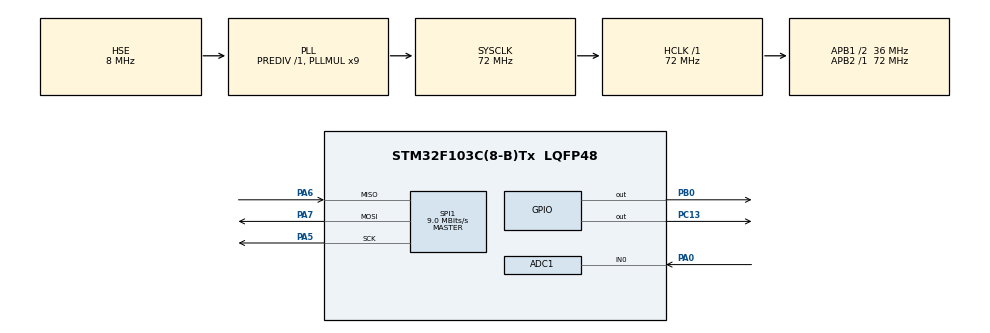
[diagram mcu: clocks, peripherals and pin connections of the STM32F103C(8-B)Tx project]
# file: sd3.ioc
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ADC1.Channel-3\#ChannelRegularConversion=ADC_CHANNEL_0
ADC1.DataAlign=ADC_DATAALIGN_LEFT
ADC1.EnableRegularConversion=ENABLE
ADC1.ExternalTrigConv=ADC_EXTERNALTRIGCONV_T3_TRGO
ADC1.NbrOfConversion=1
ADC1.NbrOfConversionFlag=1
ADC1.Rank-3\#ChannelRegularConversion=1
ADC1.SamplingTime-3\#ChannelRegularConversion=ADC_SAMPLETIME_41CYCLES_5
ADC1.master=1
Dma.ADC1.0.Direction=DMA_PERIPH_TO_MEMORY
Dma.ADC1.0.Instance=DMA1_Channel1
Dma.ADC1.0.MemDataAlignment=DMA_MDATAALIGN_BYTE
Dma.ADC1.0.MemInc=DMA_MINC_ENABLE
Dma.ADC1.0.Mode=DMA_CIRCULAR
Dma.ADC1.0.PeriphDataAlignment=DMA_PDATAALIGN_BYTE
Dma.ADC1.0.PeriphInc=DMA_PINC_DISABLE
Dma.ADC1.0.Priority=DMA_PRIORITY_LOW
Dma.Request0=ADC1
FATFS._MAX_SS=1024
FATFS._USE_LFN=1
Mcu.Family=STM32F1
Mcu.Name=STM32F103C(8-B)Tx
Mcu.Package=LQFP48
NVIC.ADC1_2_IRQn=true\:0\:0\:false\:false\:true\:true\:true
NVIC.DMA1_Channel1_IRQn=true\:0\:0\:false\:false\:true\:false\:true
NVIC.PriorityGroup=NVIC_PRIORITYGROUP_4
NVIC.TIM3_IRQn=true\:0\:0\:false\:false\:true\:true\:true
NVIC.TIM4_IRQn=true\:0\:0\:false\:false\:true\:true\:true
PA0-WKUP.Signal=ADCx_IN0
PA13.Mode=Serial_Wire
PA13.Signal=SYS_JTMS-SWDIO
PA14.Mode=Serial_Wire
PA14.Signal=SYS_JTCK-SWCLK
PA5.Mode=Full_Duplex_Master
PA5.Signal=SPI1_SCK
PA6.Mode=Full_Duplex_Master
PA6.Signal=SPI1_MISO
PA7.Mode=Full_Duplex_Master
PA7.Signal=SPI1_MOSI
PB0.Signal=GPIO_Output
PC13-TAMPER-RTC.Signal=GPIO_Output
PD0-OSC_IN.Mode=HSE-External-Oscillator
PD0-OSC_IN.Signal=RCC_OSC_IN
PD1-OSC_OUT.Mode=HSE-External-Oscillator
PD1-OSC_OUT.Signal=RCC_OSC_OUT
ProjectManager.HeapSize=0x200
ProjectManager.StackSize=0x400
ProjectManager.TargetToolchain=STM32CubeIDE
RCC.ADCPresc=RCC_ADCPCLK2_DIV6
RCC.AHBFreq_Value=72000000
RCC.APB1CLKDivider=RCC_HCLK_DIV2
RCC.APB1Freq_Value=36000000
RCC.APB1TimFreq_Value=72000000
RCC.APB2Freq_Value=72000000
RCC.APB2TimFreq_Value=72000000
RCC.HCLKFreq_Value=72000000
RCC.PLLMUL=RCC_PLL_MUL9
RCC.PLLSourceVirtual=RCC_PLLSOURCE_HSE
RCC.SYSCLKFreq_VALUE=72000000
RCC.SYSCLKSource=RCC_SYSCLKSOURCE_PLLCLK
RCC.USBFreq_Value=72000000
SH.ADCx_IN0.0=ADC1_IN0,IN0
SPI1.BaudRatePrescaler=SPI_BAUDRATEPRESCALER_8
SPI1.CalculateBaudRate=9.0 MBits/s
SPI1.Direction=SPI_DIRECTION_2LINES
SPI1.Mode=SPI_MODE_MASTER
SPI1.VirtualType=VM_MASTER
TIM3.Period=500-1
TIM3.Prescaler=9-1
TIM3.TIM_MasterOutputTrigger=TIM_TRGO_UPDATE
TIM4.Period=5000
TIM4.Prescaler=7200
VP_FATFS_VS_Generic.Mode=User_defined
VP_TIM3_VS_ClockSourceINT.Mode=Internal
VP_TIM4_VS_ClockSourceINT.Mode=Internal
board=custom

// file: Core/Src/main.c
/* USER CODE BEGIN Header */
/**
  ******************************************************************************
  * @file           : main.c
  * @brief          : Main program body
  ******************************************************************************
  * @attention
  *
  * <h2><center>&copy; Copyright (c) 2020 STMicroelectronics.
  * All rights reserved.</center></h2>
  *
  * This software component is licensed by ST under BSD 3-Clause license,
  * the "License"; You may not use this file except in compliance with the
  * License. You may obtain a copy of the License at:
  *                        opensource.org/licenses/BSD-3-Clause
  *
  ******************************************************************************
  */
/* USER CODE END Header */
#include "main.h"
#include "fatfs.h"

/* USER CODE BEGIN Includes */
#include "fatfs_sd.h"
#include "string.h"
#include "stdio.h"
//#include "sine.h"
/* USER CODE END Includes */

/* USER CODE BEGIN PD */
#define BUFF_SIZE 4096
#define RECORD_SIZE 16
/* USER CODE END PD */

ADC_HandleTypeDef hadc1;
DMA_HandleTypeDef hdma_adc1;

SPI_HandleTypeDef hspi1;

TIM_HandleTypeDef htim3;
TIM_HandleTypeDef htim4;

void SystemClock_Config(void);
static void MX_GPIO_Init(void);
static void MX_DMA_Init(void);
static void MX_SPI1_Init(void);
static void MX_TIM4_Init(void);
static void MX_TIM3_Init(void);
static void MX_ADC1_Init(void);
/* USER CODE BEGIN PFP */
void blink_bad(){
//	for(int i = 0; i < 5; i++){
//		HAL_GPIO_WritePin(GPIOC, GPIO_PIN_13, GPIO_PIN_RESET);
//		HAL_Delay(100);
//		HAL_GPIO_WritePin(GPIOC, GPIO_PIN_13, GPIO_PIN_SET);
//		HAL_Delay(100);
//	}
	while(1){
		HAL_GPIO_WritePin(GPIOC, GPIO_PIN_13, GPIO_PIN_RESET);
		HAL_Delay(100);
		HAL_GPIO_WritePin(GPIOC, GPIO_PIN_13, GPIO_PIN_SET);
		HAL_Delay(100);
	}
}

void blink_good(int val){
	for(int i = 0; i < val; i++){
		HAL_GPIO_WritePin(GPIOC, GPIO_PIN_13, GPIO_PIN_RESET);
		HAL_Delay(300);
		HAL_GPIO_WritePin(GPIOC, GPIO_PIN_13, GPIO_PIN_SET);
		HAL_Delay(300);
	}
}

void blink_beacon(){
		HAL_GPIO_WritePin(GPIOC, GPIO_PIN_13, GPIO_PIN_RESET);
		HAL_Delay(1000);
		HAL_GPIO_WritePin(GPIOC, GPIO_PIN_13, GPIO_PIN_SET);
		HAL_Delay(1000);
}

/* USER CODE END PFP */

/* USER CODE BEGIN 0 */
FATFS fs;  // file system
FIL fil; // File
FILINFO fno;
FRESULT fresult;  // result
uint16_t br, bw;  // File read/write count

/**** capacity related *****/
FATFS *pfs;
DWORD fre_clust;
uint32_t total, free_space;

volatile uint8_t bufIdx, recordDone, enableBlink;
//uint8_t buf[2][BUFF_SIZE];
//uint16_t buf[2][BUFF_SIZE];
uint8_t buf[BUFF_SIZE];

/* USER CODE END 0 */

int main(void)
{

  /* MCU Configuration--------------------------------------------------------*/

  /* Reset of all peripherals, Initializes the Flash interface and the Systick. */
  HAL_Init();

  /* Configure the system clock */
  SystemClock_Config();

  /* Initialize all configured peripherals */
  MX_GPIO_Init();
  MX_DMA_Init();
  MX_SPI1_Init();
  MX_FATFS_Init();
  MX_TIM4_Init();
  MX_TIM3_Init();
  MX_ADC1_Init();
  /* USER CODE BEGIN 2 */

  uint8_t wavHeader[] = {0x52, 0x49, 0x46, 0x46, 0xc4, 0x32, 0x01, 0x00,
		  0x57, 0x41, 0x56, 0x45, 0x66, 0x6d, 0x74, 0x20, //wave fmt
		  0x10, 0x00, 0x00, 0x00, //subchunk
		  0x01, 0x00,
		  0x01, 0x00, //num of channels
		  0x80, 0x3e, 0x00, 0x00,
		  0x80, 0x3e, 0x00, 0x00, // byterate
		  0x01, 0x00, //block align, bytes per sample
		  0x08, 0x00, //bits per sample
		  0x64, 0x61, 0x74, 0x61, // data
		  0xa0, 0x32, 0x01, 0x00 // size of data
  };
  bufIdx = 0;
  recordDone = 0;
  enableBlink = 0;
    fresult = f_mount(&fs, "", 0);
	fresult = f_open(&fil, "f12.wav", FA_OPEN_ALWAYS | FA_READ | FA_WRITE);
	if(fresult != FR_OK)
		blink_bad();

	f_write(&fil, wavHeader, sizeof(wavHeader), &bw);

//	blink_good(2);
	/* Writing text */
//	f_puts("This data is from the FILE1.txt. And it was written using ...f_puts... ", &fil);

	HAL_TIM_Base_Start_IT(&htim4);

	HAL_TIM_Base_Start(&htim3);

//	HAL_ADC_Start_DMA(&hadc1, (uint16_t*)buf, 2*BUFF_SIZE);
	HAL_ADC_Start_DMA(&hadc1, (uint16_t*)buf, BUFF_SIZE);
	//for 8bit left shifted ADC read, move periph pointer by one byte to get ADC highbyte
	uint32_t ADC_DR = hdma_adc1.Instance->CPAR;
	hdma_adc1.Instance->CPAR = ADC_DR+1;

  /* USER CODE END 2 */

  /* Infinite loop */
  while (1)
  {

    /* USER CODE BEGIN 3 */
	  if(enableBlink)
		  blink_beacon();
  }
  /* USER CODE END 3 */
}

void SystemClock_Config(void)
{
  RCC_OscInitTypeDef RCC_OscInitStruct = {0};
  RCC_ClkInitTypeDef RCC_ClkInitStruct = {0};
  RCC_PeriphCLKInitTypeDef PeriphClkInit = {0};

  /** Initializes the RCC Oscillators according to the specified parameters
  * in the RCC_OscInitTypeDef structure.
  */
  RCC_OscInitStruct.OscillatorType = RCC_OSCILLATORTYPE_HSE;
  RCC_OscInitStruct.HSEState = RCC_HSE_ON;
  RCC_OscInitStruct.HSEPredivValue = RCC_HSE_PREDIV_DIV1;
  RCC_OscInitStruct.HSIState = RCC_HSI_ON;
  RCC_OscInitStruct.PLL.PLLState = RCC_PLL_ON;
  RCC_OscInitStruct.PLL.PLLSource = RCC_PLLSOURCE_HSE;
  RCC_OscInitStruct.PLL.PLLMUL = RCC_PLL_MUL9;
  if (HAL_RCC_OscConfig(&RCC_OscInitStruct) != HAL_OK)
  {
    Error_Handler();
  }
  /** Initializes the CPU, AHB and APB buses clocks
  */
  RCC_ClkInitStruct.ClockType = RCC_CLOCKTYPE_HCLK|RCC_CLOCKTYPE_SYSCLK
                              |RCC_CLOCKTYPE_PCLK1|RCC_CLOCKTYPE_PCLK2;
  RCC_ClkInitStruct.SYSCLKSource = RCC_SYSCLKSOURCE_PLLCLK;
  RCC_ClkInitStruct.AHBCLKDivider = RCC_SYSCLK_DIV1;
  RCC_ClkInitStruct.APB1CLKDivider = RCC_HCLK_DIV2;
  RCC_ClkInitStruct.APB2CLKDivider = RCC_HCLK_DIV1;

  if (HAL_RCC_ClockConfig(&RCC_ClkInitStruct, FLASH_LATENCY_2) != HAL_OK)
  {
    Error_Handler();
  }
  PeriphClkInit.PeriphClockSelection = RCC_PERIPHCLK_ADC;
  PeriphClkInit.AdcClockSelection = RCC_ADCPCLK2_DIV6;
  if (HAL_RCCEx_PeriphCLKConfig(&PeriphClkInit) != HAL_OK)
  {
    Error_Handler();
  }
}

static void MX_ADC1_Init(void)
{

  ADC_ChannelConfTypeDef sConfig = {0};

  /** Common config
  */
  hadc1.Instance = ADC1;
  hadc1.Init.ScanConvMode = ADC_SCAN_DISABLE;
  hadc1.Init.ContinuousConvMode = DISABLE;
  hadc1.Init.DiscontinuousConvMode = DISABLE;
  hadc1.Init.ExternalTrigConv = ADC_EXTERNALTRIGCONV_T3_TRGO;
  hadc1.Init.DataAlign = ADC_DATAALIGN_LEFT;
  hadc1.Init.NbrOfConversion = 1;
  if (HAL_ADC_Init(&hadc1) != HAL_OK)
  {
    Error_Handler();
  }
  /** Configure Regular Channel
  */
  sConfig.Channel = ADC_CHANNEL_0;
  sConfig.Rank = ADC_REGULAR_RANK_1;
  sConfig.SamplingTime = ADC_SAMPLETIME_41CYCLES_5;
  if (HAL_ADC_ConfigChannel(&hadc1, &sConfig) != HAL_OK)
  {
    Error_Handler();
  }

}

static void MX_SPI1_Init(void)
{

  /* SPI1 parameter configuration*/
  hspi1.Instance = SPI1;
  hspi1.Init.Mode = SPI_MODE_MASTER;
  hspi1.Init.Direction = SPI_DIRECTION_2LINES;
  hspi1.Init.DataSize = SPI_DATASIZE_8BIT;
  hspi1.Init.CLKPolarity = SPI_POLARITY_LOW;
  hspi1.Init.CLKPhase = SPI_PHASE_1EDGE;
  hspi1.Init.NSS = SPI_NSS_SOFT;
  hspi1.Init.BaudRatePrescaler = SPI_BAUDRATEPRESCALER_8;
  hspi1.Init.FirstBit = SPI_FIRSTBIT_MSB;
  hspi1.Init.TIMode = SPI_TIMODE_DISABLE;
  hspi1.Init.CRCCalculation = SPI_CRCCALCULATION_DISABLE;
  hspi1.Init.CRCPolynomial = 10;
  if (HAL_SPI_Init(&hspi1) != HAL_OK)
  {
    Error_Handler();
  }

}

static void MX_TIM3_Init(void)
{

  TIM_ClockConfigTypeDef sClockSourceConfig = {0};
  TIM_MasterConfigTypeDef sMasterConfig = {0};

  htim3.Instance = TIM3;
  htim3.Init.Prescaler = 9-1;
  htim3.Init.CounterMode = TIM_COUNTERMODE_UP;
  htim3.Init.Period = 500-1;
  htim3.Init.ClockDivision = TIM_CLOCKDIVISION_DIV1;
  htim3.Init.AutoReloadPreload = TIM_AUTORELOAD_PRELOAD_DISABLE;
  if (HAL_TIM_Base_Init(&htim3) != HAL_OK)
  {
    Error_Handler();
  }
  sClockSourceConfig.ClockSource = TIM_CLOCKSOURCE_INTERNAL;
  if (HAL_TIM_ConfigClockSource(&htim3, &sClockSourceConfig) != HAL_OK)
  {
    Error_Handler();
  }
  sMasterConfig.MasterOutputTrigger = TIM_TRGO_UPDATE;
  sMasterConfig.MasterSlaveMode = TIM_MASTERSLAVEMODE_DISABLE;
  if (HAL_TIMEx_MasterConfigSynchronization(&htim3, &sMasterConfig) != HAL_OK)
  {
    Error_Handler();
  }

}

static void MX_TIM4_Init(void)
{

  TIM_ClockConfigTypeDef sClockSourceConfig = {0};
  TIM_MasterConfigTypeDef sMasterConfig = {0};

  htim4.Instance = TIM4;
  htim4.Init.Prescaler = 7200;
  htim4.Init.CounterMode = TIM_COUNTERMODE_UP;
  htim4.Init.Period = 5000;
  htim4.Init.ClockDivision = TIM_CLOCKDIVISION_DIV1;
  htim4.Init.AutoReloadPreload = TIM_AUTORELOAD_PRELOAD_DISABLE;
  if (HAL_TIM_Base_Init(&htim4) != HAL_OK)
  {
    Error_Handler();
  }
  sClockSourceConfig.ClockSource = TIM_CLOCKSOURCE_INTERNAL;
  if (HAL_TIM_ConfigClockSource(&htim4, &sClockSourceConfig) != HAL_OK)
  {
    Error_Handler();
  }
  sMasterConfig.MasterOutputTrigger = TIM_TRGO_RESET;
  sMasterConfig.MasterSlaveMode = TIM_MASTERSLAVEMODE_DISABLE;
  if (HAL_TIMEx_MasterConfigSynchronization(&htim4, &sMasterConfig) != HAL_OK)
  {
    Error_Handler();
  }

}

static void MX_DMA_Init(void)
{

  /* DMA controller clock enable */
  __HAL_RCC_DMA1_CLK_ENABLE();

  /* DMA interrupt init */
  /* DMA1_Channel1_IRQn interrupt configuration */
  HAL_NVIC_SetPriority(DMA1_Channel1_IRQn, 0, 0);
  HAL_NVIC_EnableIRQ(DMA1_Channel1_IRQn);

}

static void MX_GPIO_Init(void)
{
  GPIO_InitTypeDef GPIO_InitStruct = {0};

  /* GPIO Ports Clock Enable */
  __HAL_RCC_GPIOC_CLK_ENABLE();
  __HAL_RCC_GPIOD_CLK_ENABLE();
  __HAL_RCC_GPIOA_CLK_ENABLE();
  __HAL_RCC_GPIOB_CLK_ENABLE();

  /*Configure GPIO pin Output Level */
  HAL_GPIO_WritePin(GPIOC, GPIO_PIN_13, GPIO_PIN_RESET);

  /*Configure GPIO pin Output Level */
  HAL_GPIO_WritePin(GPIOB, GPIO_PIN_0, GPIO_PIN_RESET);

  /*Configure GPIO pin : PC13 */
  GPIO_InitStruct.Pin = GPIO_PIN_13;
  GPIO_InitStruct.Mode = GPIO_MODE_OUTPUT_PP;
  GPIO_InitStruct.Pull = GPIO_NOPULL;
  GPIO_InitStruct.Speed = GPIO_SPEED_FREQ_LOW;
  HAL_GPIO_Init(GPIOC, &GPIO_InitStruct);

  /*Configure GPIO pin : PB0 */
  GPIO_InitStruct.Pin = GPIO_PIN_0;
  GPIO_InitStruct.Mode = GPIO_MODE_OUTPUT_PP;
  GPIO_InitStruct.Pull = GPIO_NOPULL;
  GPIO_InitStruct.Speed = GPIO_SPEED_FREQ_LOW;
  HAL_GPIO_Init(GPIOB, &GPIO_InitStruct);

}

/* USER CODE BEGIN 4 */

void HAL_ADC_ConvHalfCpltCallback(ADC_HandleTypeDef* hadc){
//	HAL_TIM_Base_Stop(&htim3);
//	HAL_GPIO_WritePin(GPIOC, GPIO_PIN_13, GPIO_PIN_SET);
//	f_write(&fil, buf[0], 1024, &bw);
//	HAL_TIM_Base_Start(&htim3);
}

//dodaj zapis tablicy z timestampami w callback dma
//dodaj cnt marker co 10 zapis

//daj ifa zeby sprowadzac wszystko z 126-129 do 127

//cofnij do 8bit, zapis do ram i pozniej bulk do sd

//sprawdz czy po zapisie trzeba SPI_RxByte

//licz do mikrofonu, sprawdz czy wskaznik w pliku nie wraca na poczatek

//converter w python do rollover

//popraw kalkulowanie pliku

//normalny sygnal przy 16bit ma max amp 100

//8bit dc 128, skok do 131 przy zapisie

void HAL_ADC_ConvCpltCallback(ADC_HandleTypeDef* hadc){
	bufIdx++;

	HAL_GPIO_WritePin(GPIOC, GPIO_PIN_13, GPIO_PIN_RESET);

//	uint16_t start = TIM4->CNT;
	HAL_TIM_Base_Stop(&htim3);
//	uint16_t dc = 0x3fff; // 16k dla buf >> 1

//	for(uint16_t i = 0 ; i < BUFF_SIZE; i++){
////		*(buf + i) = *(buf + i) >> 2;
////		uint16_t num = buf[i];
//
////		if(num - dc*2 > 400){//1729
////			buf[i] = dc;
////			continue;
////		}
////
////		buf[i] = dc + (((buf[i]>>1) - dc) << 6);
//
//		buf[i] = buf[i]>>1;
//	}

	uint8_t prev = 0;
	for(uint16_t i = 0 ; i < BUFF_SIZE; i++){
		if(abs(buf[i+1]-buf[i]) >= 3)
			buf[i]= 128;
	}

	HAL_GPIO_WritePin(GPIOC, GPIO_PIN_13, GPIO_PIN_SET);

//	f_write(&fil, buf[1], 1024, &bw);
	f_write(&fil, buf, sizeof(buf), &bw);
	HAL_TIM_Base_Start(&htim3);

//	f_sync(&fil);

	if(bufIdx > RECORD_SIZE){
		HAL_TIM_Base_Stop(&htim3);
		recordDone++;
		enableBlink++;
	}
}

void HAL_TIM_PeriodElapsedCallback(TIM_HandleTypeDef *htim){

	if (htim->Instance == htim4.Instance && recordDone){	//1hz
		HAL_TIM_Base_Stop(&htim4);

//		uint32_t fsize = RECORD_SIZE * 2 * 2 * 512;
		uint32_t fsize = RECORD_SIZE * 2 * BUFF_SIZE;

		uint8_t size1 = (fsize%256);
		uint16_t size2 = fsize%65536;
		uint8_t size3 = (fsize-size2)>>16;
		size2 = (size2)>>8;

		uint8_t chunkSize[] = {size1+36, size2, size3};
		uint8_t subChunkSize[] = {size1, size2, size3};

		f_lseek(&fil, 4);
		f_write(&fil, chunkSize, 3, &bw);
		f_lseek(&fil, 40);
		f_write(&fil, subChunkSize, 3, &bw);

		recordDone = 0;

		f_close(&fil);
//		blink_good(5);

//		HAL_TIM_Base_Start(&htim3);
//		HAL_TIM_Base_Start_IT(&htim4);
/*
//		if(writeCnt <32){
	//			HAL_TIM_Base_Stop_IT(&htim3);
	//			HAL_TIM_Base_Stop_IT(&htim4);
//				FRESULT res = f_write(&fil, buf[bufIdx], sizeof(buf[bufIdx]), &bw);// replace with direct write
	//				DRESULT res = SD_disk_write(fs.drv, buf[bufIdx], writeCnt, 2);

//				writeCnt++;
	//			HAL_TIM_Base_Start_IT(&htim4);
	//			HAL_TIM_Base_Start_IT(&htim3);

//					if(writeCnt%4 == 0)
//						f_sync(&fil);
//		} else {
//			stop1 = htim4.Instance->CNT;
//			f_close(&fil);
//			stop2 = htim4.Instance->CNT;
//			HAL_TIM_Base_Stop_IT(&htim3);
//			blink_good(3);
//		}
//		htim4.Instance->CNT = 0;
	} // if tim4
	*/
	}
}

void DMA1_Stream3_IRQHandler(DMA_HandleTypeDef *hdma){
	asm("NOP");
}

/* USER CODE END 4 */

void Error_Handler(void)
{
}

/************************ (C) COPYRIGHT STMicroelectronics *****END OF FILE****/
